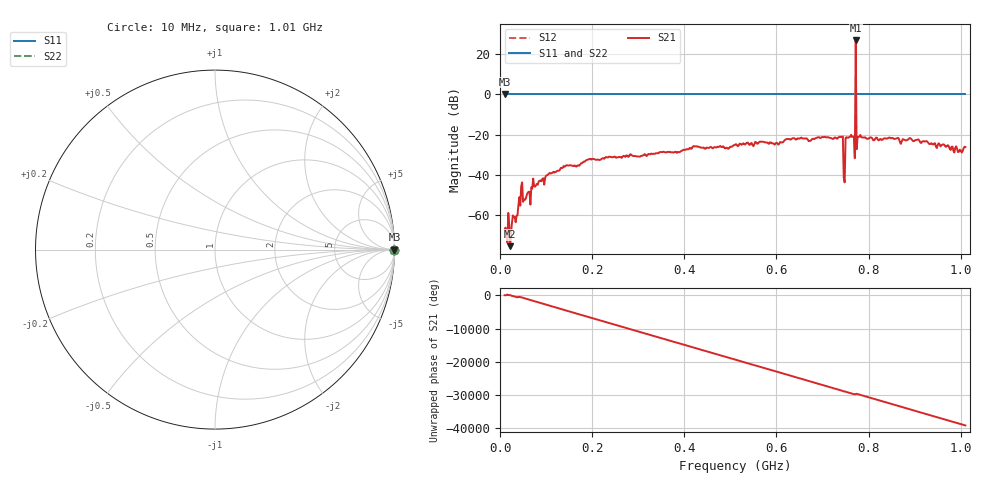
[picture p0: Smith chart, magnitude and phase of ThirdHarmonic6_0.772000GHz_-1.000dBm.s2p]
! 8/16/2025 1:47:38 AM
! C:\ANRITSUVNA\TEMP\TEMP.S2P
! CHANNEL.1
! TR.MEASUREMENT
! RAW.DATA
! RF.CORRECTION.OFF
! AVERAGING.OFF
! IF.BANDWIDTH: 5KHZ
! SWEEPTYPE:  FREQ.SWEEP(Linear)
! Reference Plane Port Info
! PORT:  PORT1  PORT2
! DISTANCE:  0  m  0  m
! TIME:  0  s  0  s
! PHASE.OFFSET:  0  deg.  0  deg.
! LOSS:  0  dB  0  dB
! REF.LOSS:  0  dB  0  dB
! REF.FREQ:  0  Hz  0  Hz
! Power Info
! POWER:  -20  dBm  -20  dBm
! EFF.POWER:  -20  dBm  -20  dBm
! SOURCE.ATTEN:  0  dB  0  dB
! TEST.ATTEN:  0  dB  0  dB
# GHZ S RI R 50.0
! FREQ.GHZ  S11RE  S11IM  S21RE  S21IM  S12RE  S12IM  S22RE  S22IM
!; PortSelection: Port_12
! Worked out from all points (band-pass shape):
!   501 points, 10 MHz to 1.01 GHz, reference 50 ohm
!   highest |S21| = 26.52 dB at 772 MHz (marker M1); lowest = -75.2 dB at 22 MHz (marker M2)
!   |S21| within 3 dB of the highest: 771.8969 MHz to 772.1117 MHz (214.7 kHz wide, 0.0278 % of centre)
!   lowest |S11| = 0.0 dB at 10 MHz (marker M3)
!   |S11| at or under -10 dB: nowhere
!   |S22| runs from 0.0 to 0.0 dB; largest |S21 - S12| = 22
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0.01  1 0  0.000226 0.000388  1 0  1 0
0.022  1 0  -4.7e-06 0.000174  1 0  1 0
0.036  1 0  -0.000933 -0.000305  1 0  1 0
0.044  1 0  -0.00126 -0.00122  1 0  1 0
0.054  1 0  -0.00243 -7e-06  1 0  1 0
0.104  1 0  0.00521 -0.00872  1 0  1 0
0.178  1 0  -0.0195 -0.00297  1 0  1 0
0.344  1 0  0.0326 -0.0114  1 0  1 0
0.51  1 0  -0.0451 0.0325  1 0  1 0
0.678  1 0  -0.0673 -0.0397  1 0  1 0
0.74  1 0  -0.0694 -0.0519  1 0  1 0
0.744  1 0  0.0509 0.0738  1 0  1 0
0.75  1 0  -0.0815 0.00952  1 0  1 0
0.754  1 0  0.0821 0.0161  1 0  1 0
0.766  1 0  -0.0346 -0.0812  1 0  1 0
0.768  1 0  -0.0873 0.0188  1 0  1 0
0.772  1 0  -17.43 -12.03  1 0  1 0
0.776  1 0  -0.0835 -0.0214  1 0  1 0
0.778  1 0  -0.0397 0.0776  1 0  1 0
0.844  1 0  0.0758 -0.0355  1 0  1 0
0.998  1 0  -0.0224 -0.0359  1 0  1 0
1.01  1 0  -0.0189 0.0453  1 0  1 0
